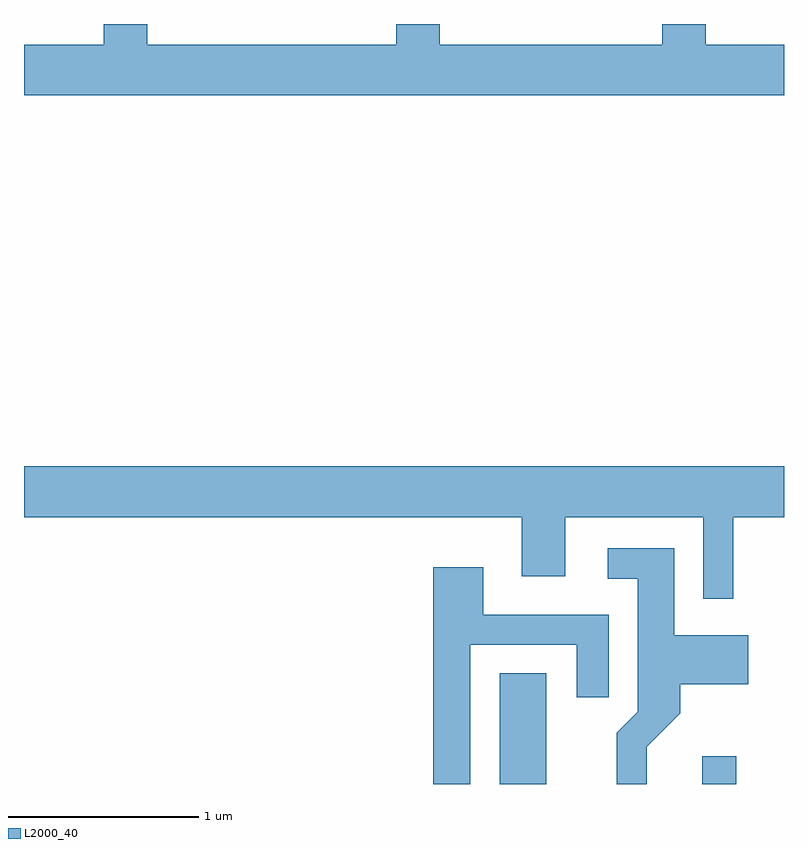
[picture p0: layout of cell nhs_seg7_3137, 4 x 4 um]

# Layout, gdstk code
import gdstk
lib = gdstk.Library(unit=1e-6, precision=1e-09)
def R(c, l, rs):  # rectangles x0, y0, x1, y1
    for r in rs: c.add(gdstk.rectangle(r[:2], r[2:], *l))
def P(c, l, *ps):  # polygons
    for p in ps: c.add(gdstk.Polygon(p, *l))
L2000_40 = (2000, 40)

nhs_seg7_3137 = lib.new_cell('nhs_seg7_3137')
R(nhs_seg7_3137, L2000_40, [(284.116,1706.252,284.359,1706.834), (285.181,1706.252,285.359,1706.399)])
P(nhs_seg7_3137, L2000_40, [(285.611,1710.144),(285.199,1710.144),(285.199,1710.252),(284.971,1710.252),(284.971,1710.144),(283.799,1710.144),(283.799,1710.252),(283.571,1710.252),(283.571,1710.144),(282.259,1710.144),(282.259,1710.252),(282.031,1710.252),(282.031,1710.144),(281.611,1710.144),(281.611,1709.876),(285.611,1709.876)],
  [(285.344,1707.656),(285.611,1707.656),(285.611,1707.924),(281.611,1707.924),(281.611,1707.656),(284.231,1707.656),(284.231,1707.346),(284.459,1707.346),(284.459,1707.656),(285.186,1707.656),(285.186,1707.228),(285.344,1707.228)],
  [(284.889,1706.449),(285.064,1706.624),(285.064,1706.776),(285.424,1706.776),(285.424,1707.034),(285.034,1707.034),(285.034,1707.494),(284.683,1707.494),(284.683,1707.331),(284.841,1707.331),(284.841,1706.632),(284.731,1706.522),(284.731,1706.252),(284.889,1706.252)],
  [(283.959,1706.986),(284.521,1706.986),(284.521,1706.708),(284.689,1706.708),(284.689,1707.144),(284.029,1707.144),(284.029,1707.394),(283.766,1707.394),(283.766,1706.252),(283.959,1706.252)])

lib.write_gds('nhs_seg7_3137.gds')
